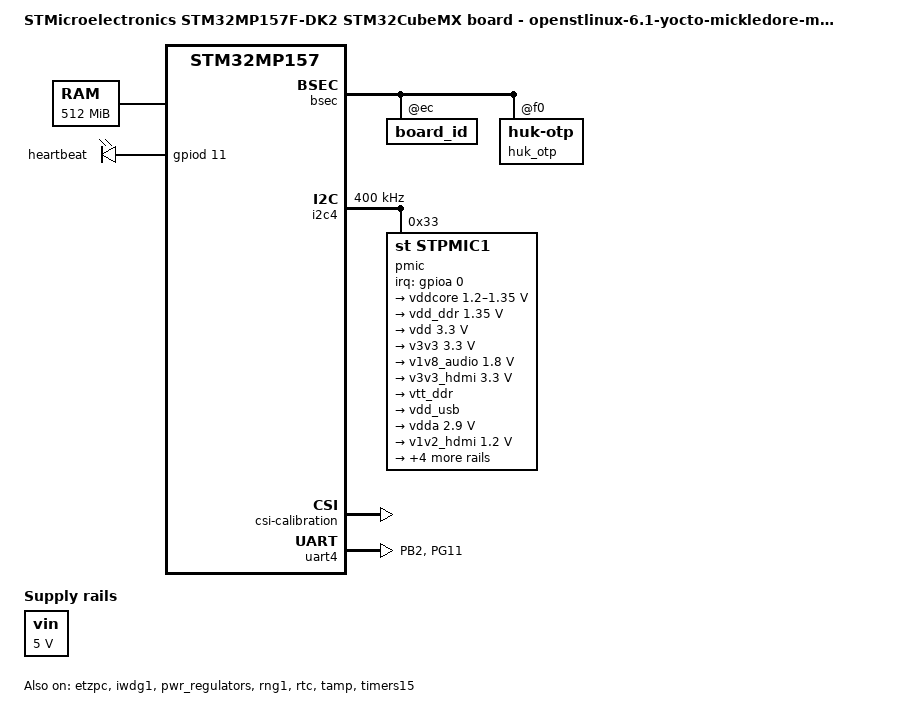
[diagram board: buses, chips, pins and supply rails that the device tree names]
// SPDX-License-Identifier: (GPL-2.0-or-later OR BSD-3-Clause)
/*
 * Copyright (C) 2024, STMicroelectronics - All Rights Reserved
 * Author: STM32CubeMX code generation for STMicroelectronics.
 */

/* For more information on Device Tree configuration, please refer to
 * https://wiki.st.com/stm32mpu/wiki/Category:Device_tree_configuration
 */

/dts-v1/;

#include <dt-bindings/pinctrl/stm32-pinfunc.h>
#include <dt-bindings/clock/stm32mp1-clksrc.h>
#include <dt-bindings/soc/stm32mp15-etzpc.h>
#include "stm32mp157.dtsi"
#include "stm32mp15xf.dtsi"
#include "stm32mp15xxac-pinctrl.dtsi"

/* USER CODE BEGIN includes */
#include "stm32mp15-pinctrl.dtsi"
#include <dt-bindings/gpio/stm32mp_gpio.h>
#include <dt-bindings/power/stm32mp1-power.h>
#include <dt-bindings/mfd/st,stpmic1.h>
#include <dt-bindings/soc/stm32mp-provisioning.h>
#include <dt-bindings/tamper/st,stm32-tamp.h>
/* USER CODE END includes */

/ {
	model = "STMicroelectronics STM32MP157F-DK2 STM32CubeMX board - openstlinux-6.1-yocto-mickledore-mpu-v24.06.26";
	compatible = "st,stm32mp157f-dk2-mx", "st,stm32mp157f-dk2", "st,stm32mp157";

	memory@c0000000 {
		device_type = "memory";
		reg = <0xc0000000 0x20000000>;

		/* USER CODE BEGIN memory */
		/* USER CODE END memory */
	};

	reserved-memory {
		#address-cells = <1>;
		#size-cells = <1>;
		ranges;

		/* USER CODE BEGIN reserved-memory */

		mcusram1:mcuram@10000000{
			compatible = "shared-dma-pool";
			reg = <0x10000000 0x20000>;
			no-map;
		};

		mcusram2:mcuram@10020000{
			compatible = "shared-dma-pool";
			reg = <0x10020000 0x20000>;
			no-map;
		};

		mcusram3:mcuram@10040000{
			compatible = "shared-dma-pool";
			reg = <0x10040000 0x10000>;
			no-map;
		};

		retram:retram@38000000{
			compatible = "shared-dma-pool";
			reg = <0x38000000 0x10000>;
			no-map;
		};

		gpu_reserved:gpu@d4000000{
			reg = <0xd4000000 0x4000000>;
			no-map;
		};
		/* USER CODE END reserved-memory */
	};

	/* USER CODE BEGIN root */

	aliases{
		serial0 = &uart4;
		serial1 = &usart3;
		serial2 = &uart7;
		serial3 = &usart2;
	};

	led{
		compatible = "gpio-leds";

		led-blue{
			label = "heartbeat";
			gpios = <&gpiod 11 GPIO_ACTIVE_HIGH>;
			linux,default-trigger = "heartbeat";
			default-state = "off";
		};
	};

	shadow-prov{
		compatible = "st,provisioning";

		hw2_prov{
			nvmem-cells = <&hw2_otp>;
			st,shadow-value = <0x000001E0>;
			st,shadow-lock = <STICKY_LOCK_SR>;
		};
	};

	vin:vin{
		compatible = "regulator-fixed";
		regulator-name = "vin";
		regulator-min-microvolt = <5000000>;
		regulator-max-microvolt = <5000000>;
		regulator-always-on;
	};

	chosen{
		stdout-path = "serial0:115200n8";
	};
	/* USER CODE END root */

	clocks {
		/* USER CODE BEGIN clocks */
		/* USER CODE END clocks */

		clk_hsi: clk-hsi {
			clock-frequency = <64000000>;

			/* USER CODE BEGIN clk_hsi */
			/* USER CODE END clk_hsi */
		};
		clk_lse: clk-lse {
			clock-frequency = <32768>;
			st,drive = < LSEDRV_MEDIUM_HIGH >;

			/* USER CODE BEGIN clk_lse */
			/* USER CODE END clk_lse */
		};
		clk_hse: clk-hse {
			clock-frequency = <24000000>;
			st,digbypass;

			/* USER CODE BEGIN clk_hse */
			/* USER CODE END clk_hse */
		};
	};

}; /*root*/

/*Warning: the configuration of the secured GPIOs should be added in (addons) User Section*/
&pinctrl {
	rcc_pins_mx: rcc_mx-0 {
		pins {
			pinmux = <STM32_PINMUX('C', 14, ANALOG)>, /* RCC_OSC32_IN */
					 <STM32_PINMUX('C', 15, ANALOG)>, /* RCC_OSC32_OUT */
					 <STM32_PINMUX('H', 0, ANALOG)>, /* RCC_OSC_IN */
					 <STM32_PINMUX('H', 1, ANALOG)>; /* RCC_OSC_OUT */
		};
	};

	rtc_pins_mx: rtc_mx-0 {
		pins {
			pinmux = <STM32_PINMUX('I', 8, ANALOG)>; /* RTC_LSCO */
		};
	};

	/* USER CODE BEGIN pinctrl */

	uart4_pins_mx: uart4_mx-0 {
		pins1 {
			pinmux = <STM32_PINMUX('B', 2, AF8)>; /* UART4_RX */
			bias-disable;
		};
		pins2 {
			pinmux = <STM32_PINMUX('G', 11, AF6)>; /* UART4_TX */
			bias-disable;
			drive-push-pull;
			slew-rate = <0>;
		};
	};
	/* USER CODE END pinctrl */
};

&pinctrl_z {
	i2c4_pins_z_mx: i2c4_mx-0 {
		pins {
			pinmux = <STM32_PINMUX('Z', 4, AF6)>, /* I2C4_SCL */
					 <STM32_PINMUX('Z', 5, AF6)>; /* I2C4_SDA */
			bias-disable;
			drive-open-drain;
			slew-rate = <0>;
		};
	};

	/* USER CODE BEGIN pinctrl_z */
	/* USER CODE END pinctrl_z */
};

&bsec{
	status = "okay";

	/* USER CODE BEGIN bsec */

	board_id:board_id@ec{
		reg = <0xec 0x4>;
		st,non-secure-otp;
	};

	huk_otp:huk-otp@f0{
		reg = <0xf0 0x10>;
	};
	/* USER CODE END bsec */
};

&etzpc{
	status = "okay";
	st,decprot = <
	/*"Non Secured" peripherals*/
	DECPROT(STM32MP1_ETZPC_ADC_ID, DECPROT_NS_RW, DECPROT_UNLOCK)
	DECPROT(STM32MP1_ETZPC_CRYP1_ID, DECPROT_NS_RW, DECPROT_UNLOCK)
	DECPROT(STM32MP1_ETZPC_DMA1_ID, DECPROT_NS_RW, DECPROT_UNLOCK)
	DECPROT(STM32MP1_ETZPC_DMA2_ID, DECPROT_NS_RW, DECPROT_UNLOCK)
	DECPROT(STM32MP1_ETZPC_DMAMUX_ID, DECPROT_NS_RW, DECPROT_UNLOCK)
	DECPROT(STM32MP1_ETZPC_ETH_ID, DECPROT_NS_RW, DECPROT_UNLOCK)
	DECPROT(STM32MP1_ETZPC_HASH1_ID, DECPROT_NS_RW, DECPROT_UNLOCK)
	DECPROT(STM32MP1_ETZPC_CEC_ID, DECPROT_NS_RW, DECPROT_UNLOCK)
	DECPROT(STM32MP1_ETZPC_I2C1_ID, DECPROT_NS_RW, DECPROT_UNLOCK)
	DECPROT(STM32MP1_ETZPC_I2C4_ID, DECPROT_NS_RW, DECPROT_UNLOCK)
	DECPROT(STM32MP1_ETZPC_SPI2_ID, DECPROT_NS_RW, DECPROT_UNLOCK)
	DECPROT(STM32MP1_ETZPC_SAI2_ID, DECPROT_NS_RW, DECPROT_UNLOCK)
	DECPROT(STM32MP1_ETZPC_UART4_ID, DECPROT_NS_RW, DECPROT_UNLOCK)
	DECPROT(STM32MP1_ETZPC_USART2_ID, DECPROT_NS_RW, DECPROT_UNLOCK)
	DECPROT(STM32MP1_ETZPC_OTG_ID, DECPROT_NS_RW, DECPROT_UNLOCK)
	DECPROT(STM32MP1_ETZPC_VREFBUF_ID, DECPROT_NS_RW, DECPROT_UNLOCK)
	/*"NS_R S_W" peripherals*/
	DECPROT(STM32MP1_ETZPC_DDRCTRL_ID, DECPROT_NS_R_S_W, DECPROT_LOCK)
	DECPROT(STM32MP1_ETZPC_DDRPHYC_ID, DECPROT_NS_R_S_W, DECPROT_LOCK)
	/*"Secured" peripherals*/
	DECPROT(STM32MP1_ETZPC_IWDG1_ID, DECPROT_S_RW, DECPROT_UNLOCK)
	DECPROT(STM32MP1_ETZPC_RNG1_ID, DECPROT_S_RW, DECPROT_UNLOCK)
	DECPROT(STM32MP1_ETZPC_STGENC_ID, DECPROT_S_RW, DECPROT_UNLOCK)

	/*Restriction: following IDs are not managed  - please to use User-Section if needed:
		  STM32MP1_ETZPC_SRAMx_ID  STM32MP1_ETZPC_RETRAM_ID  STM32MP1_ETZPC_BKPSRAM_ID*/

	/* USER CODE BEGIN etzpc_decprot */
		/*STM32CubeMX generates a basic and standard configuration for ETZPC.
		Additional device configurations can be added here if needed.
		"etzpc" node could be also overloaded in "addons" User-Section.*/
	/* USER CODE END etzpc_decprot */
	>;

	/* USER CODE BEGIN etzpc */
	/* USER CODE END etzpc */
};

&i2c4{
	pinctrl-names = "default";
	pinctrl-0 = <&i2c4_pins_z_mx>;
	status = "okay";

	/* USER CODE BEGIN i2c4 */
	compatible = "st,stm32mp15-i2c-non-secure";
	pinctrl-1 = <&i2c4_sleep_pins_a>;
	i2c-scl-rising-time-ns = <185>;
	i2c-scl-falling-time-ns = <20>;
	clock-frequency = <400000>;
	/delete-property/ dmas;
	/delete-property/ dma-names;

	pmic:stpmic@33{
		compatible = "st,stpmic1";
		reg = <0x33>;
		interrupts-extended = <&gpioa 0 IRQ_TYPE_EDGE_FALLING>;
		interrupt-controller;
		#interrupt-cells = <2>;
		status = "okay";

		regulators{
			compatible = "st,stpmic1-regulators";
			buck1-supply = <&vin>;
			buck2-supply = <&vin>;
			buck3-supply = <&vin>;
			buck4-supply = <&vin>;
			ldo1-supply = <&v3v3>;
			ldo2-supply = <&vin>;
			ldo3-supply = <&vdd_ddr>;
			ldo4-supply = <&vin>;
			ldo5-supply = <&vin>;
			ldo6-supply = <&v3v3>;
			vref_ddr-supply = <&vin>;
			boost-supply = <&vin>;
			pwr_sw1-supply = <&bst_out>;
			pwr_sw2-supply = <&bst_out>;

			vddcore:buck1{
				regulator-name = "vddcore";
				regulator-min-microvolt = <1200000>;
				regulator-max-microvolt = <1350000>;
				regulator-always-on;
				regulator-initial-mode = <0>;
				regulator-over-current-protection;

				lp-stop{
					regulator-on-in-suspend;
					regulator-suspend-microvolt = <1200000>;
				};

				standby-ddr-sr{
					regulator-off-in-suspend;
				};

				standby-ddr-off{
					regulator-off-in-suspend;
				};
			};

			vdd_ddr:buck2{
				regulator-name = "vdd_ddr";
				regulator-min-microvolt = <1350000>;
				regulator-max-microvolt = <1350000>;
				regulator-always-on;
				regulator-initial-mode = <0>;
				regulator-over-current-protection;

				lp-stop{
					regulator-suspend-microvolt = <1350000>;
					regulator-on-in-suspend;
				};

				standby-ddr-sr{
					regulator-suspend-microvolt = <1350000>;
					regulator-on-in-suspend;
				};

				standby-ddr-off{
					regulator-off-in-suspend;
				};
			};

			vdd:buck3{
				regulator-name = "vdd";
				regulator-min-microvolt = <3300000>;
				regulator-max-microvolt = <3300000>;
				regulator-always-on;
				st,mask-reset;
				regulator-initial-mode = <0>;
				regulator-over-current-protection;

				lp-stop{
					regulator-suspend-microvolt = <3300000>;
					regulator-on-in-suspend;
				};

				standby-ddr-sr{
					regulator-suspend-microvolt = <3300000>;
					regulator-on-in-suspend;
				};

				standby-ddr-off{
					regulator-suspend-microvolt = <3300000>;
					regulator-on-in-suspend;
				};
			};

			v3v3:buck4{
				regulator-name = "v3v3";
				regulator-min-microvolt = <3300000>;
				regulator-max-microvolt = <3300000>;
				regulator-always-on;
				regulator-over-current-protection;
				regulator-initial-mode = <0>;

				lp-stop{
					regulator-suspend-microvolt = <3300000>;
					regulator-on-in-suspend;
				};

				standby-ddr-sr{
					regulator-off-in-suspend;
				};

				standby-ddr-off{
					regulator-off-in-suspend;
				};
			};

			v1v8_audio:ldo1{
				regulator-name = "v1v8_audio";
				regulator-min-microvolt = <1800000>;
				regulator-max-microvolt = <1800000>;
				regulator-always-on;
				interrupts = <IT_CURLIM_LDO1 0>;

				standby-ddr-sr{
					regulator-off-in-suspend;
				};

				standby-ddr-off{
					regulator-off-in-suspend;
				};
			};

			v3v3_hdmi:ldo2{
				regulator-name = "v3v3_hdmi";
				regulator-min-microvolt = <3300000>;
				regulator-max-microvolt = <3300000>;
				regulator-always-on;
				interrupts = <IT_CURLIM_LDO2 0>;

				standby-ddr-sr{
					regulator-off-in-suspend;
				};

				standby-ddr-off{
					regulator-off-in-suspend;
				};
			};

			vtt_ddr:ldo3{
				regulator-name = "vtt_ddr";
				regulator-always-on;
				regulator-over-current-protection;
				st,regulator-sink-source;

				lp-stop{
					regulator-off-in-suspend;
				};

				standby-ddr-sr{
					regulator-off-in-suspend;
				};

				standby-ddr-off{
					regulator-off-in-suspend;
				};
			};

			vdd_usb:ldo4{
				regulator-name = "vdd_usb";
				interrupts = <IT_CURLIM_LDO4 0>;

				standby-ddr-sr{
					regulator-off-in-suspend;
				};

				standby-ddr-off{
					regulator-off-in-suspend;
				};
			};

			vdda:ldo5{
				regulator-name = "vdda";
				regulator-min-microvolt = <2900000>;
				regulator-max-microvolt = <2900000>;
				interrupts = <IT_CURLIM_LDO5 0>;
				regulator-boot-on;

				standby-ddr-sr{
					regulator-off-in-suspend;
				};

				standby-ddr-off{
					regulator-off-in-suspend;
				};
			};

			v1v2_hdmi:ldo6{
				regulator-name = "v1v2_hdmi";
				regulator-min-microvolt = <1200000>;
				regulator-max-microvolt = <1200000>;
				regulator-always-on;
				interrupts = <IT_CURLIM_LDO6 0>;

				standby-ddr-sr{
					regulator-off-in-suspend;
				};

				standby-ddr-off{
					regulator-off-in-suspend;
				};
			};

			vref_ddr:vref_ddr{
				regulator-name = "vref_ddr";
				regulator-always-on;

				lp-stop{
					regulator-on-in-suspend;
				};

				standby-ddr-sr{
					regulator-on-in-suspend;
				};

				standby-ddr-off{
					regulator-off-in-suspend;
				};
			};

			bst_out:boost{
				regulator-name = "bst_out";
				interrupts = <IT_OCP_BOOST 0>;
			};

			vbus_otg:pwr_sw1{
				regulator-name = "vbus_otg";
				interrupts = <IT_OCP_OTG 0>;
			};

			vbus_sw:pwr_sw2{
				regulator-name = "vbus_sw";
				interrupts = <IT_OCP_SWOUT 0>;
				regulator-active-discharge = <1>;
			};
		};
	};
	/* USER CODE END i2c4 */
};

&iwdg1{
	status = "okay";

	/* USER CODE BEGIN iwdg1 */
	timeout-sec = <32>;
	/* USER CODE END iwdg1 */
};

&pwr_regulators{
	status = "okay";

	/* USER CODE BEGIN pwr_regulators */
	system_suspend_supported_soc_modes = <
		STM32_PM_CSLEEP_RUN
		STM32_PM_CSTOP_ALLOW_LP_STOP
		STM32_PM_CSTOP_ALLOW_STANDBY_DDR_SR
	>;
	system_off_soc_mode = <STM32_PM_CSTOP_ALLOW_STANDBY_DDR_OFF>;
	vdd-supply = <&vdd>;
	vdd_3v3_usbfs-supply = <&vdd_usb>;
	/* USER CODE END pwr_regulators */
};

&rcc{
	pinctrl-names = "default";
	pinctrl-0 = <&rcc_pins_mx>;
	status = "okay";

	/* USER CODE BEGIN rcc */
	/* USER CODE END rcc */

	st,clksrc = <
		CLK_CKPER_HSE
		CLK_ETH_PLL4P
		CLK_SDMMC12_PLL4P
		CLK_STGEN_HSE
		CLK_SPI2S23_PLL3Q
		CLK_I2C46_HSI
		CLK_USBO_USBPHY
		CLK_ADC_CKPER
		CLK_CEC_LSE
		CLK_I2C12_HSI
		CLK_UART24_HSI
		CLK_SAI2_PLL3Q
		CLK_RNG1_CSI
		CLK_MPU_PLL1P
		CLK_AXI_PLL2P
		CLK_MCU_PLL3P
		CLK_RTC_LSE
		CLK_MCO1_DISABLED
		CLK_MCO2_DISABLED
	>;
	st,clkdiv = <
		DIV(DIV_MPU, 1)
		DIV(DIV_AXI, 0)
		DIV(DIV_MCU, 0)
		DIV(DIV_APB1, 1)
		DIV(DIV_APB2, 1)
		DIV(DIV_APB3, 1)
		DIV(DIV_APB4, 1)
		DIV(DIV_APB5, 2)
		DIV(DIV_RTC, 23)
		DIV(DIV_MCO1, 0)
		DIV(DIV_MCO2, 0)
	>;
	st,pll_vco {
		pll2_vco_1066Mhz: pll2-vco-1066Mhz {
			src = < CLK_PLL12_HSE >;
			divmn = < 2 65 >;
			frac = < 0x1400 >;
		};
		pll3_vco_417Mhz: pll3-vco-417Mhz {
			src = < CLK_PLL3_HSE >;
			divmn = < 1 33 >;
			frac = < 0x1a04 >;
		};
		pll4_vco_594Mhz: pll4-vco-594Mhz {
			src = < CLK_PLL4_HSE >;
			divmn = < 3 98 >;
		};
		/* USER CODE BEGIN rcc_st-pll_vco */
		/* USER CODE END rcc_st-pll_vco */
	};

	pll2:st,pll@1 {
		compatible = "st,stm32mp1-pll";
		reg = <1>;

		st,pll = < &pll2_cfg1 >;

		pll2_cfg1: pll2_cfg1 {
			st,pll_vco = < &pll2_vco_1066Mhz >;
			st,pll_div_pqr = < 1 0 0 >;
		};
		/* USER CODE BEGIN pll2 */
		/* USER CODE END pll2 */
	};

	pll3:st,pll@2 {
		compatible = "st,stm32mp1-pll";
		reg = <2>;

		st,pll = < &pll3_cfg1 >;

		pll3_cfg1: pll3_cfg1 {
			st,pll_vco = < &pll3_vco_417Mhz >;
			st,pll_div_pqr = < 1 16 36 >;
		};
		/* USER CODE BEGIN pll3 */
		/* USER CODE END pll3 */
	};

	pll4:st,pll@3 {
		compatible = "st,stm32mp1-pll";
		reg = <3>;

		st,pll = < &pll4_cfg1 >;

		pll4_cfg1: pll4_cfg1 {
			st,pll_vco = < &pll4_vco_594Mhz >;
			st,pll_div_pqr = < 5 7 7 >;
		};
		/* USER CODE BEGIN pll4 */
		/* USER CODE END pll4 */
	};

	/* USER CODE BEGIN rcc */
	/* USER CODE END rcc */
};

&rng1{
	status = "okay";

	/* USER CODE BEGIN rng1 */
	/* USER CODE END rng1 */
};

&rtc{
	pinctrl-names = "default";
	pinctrl-0 = <&rtc_pins_mx>;
	status = "okay";

	/* USER CODE BEGIN rtc */
	/* USER CODE END rtc */
};

&tamp{
	status = "okay";

	/* USER CODE BEGIN tamp */
	st,backup-zones = <10 5 17>;
	st,tamp-passive-nb-sample = <4>;
	st,tamp-passive-sample-clk-div = <16384>;
	/* USER CODE END tamp */
};

&timers15{
	status = "okay";

	/* USER CODE BEGIN timers15 */

	counter{
		status = "okay";
	};
	/* USER CODE END timers15 */
};

/* USER CODE BEGIN addons */

&gpu{
	contiguous-area = <&gpu_reserved>;
};

&cpu0{
	cpu-supply = <&vddcore>;
};

&cpu1{
	cpu-supply = <&vddcore>;
};

&osc_calibration{

	csi-calibration{
		status = "okay";
	};

	hsi-calibration{
		status = "okay";
	};
};

&usbphyc_port0{
	phy-supply = <&vdd_usb>;
	st,tune-hs-dc-level = <2>;
	st,enable-fs-rftime-tuning;
	st,enable-hs-rftime-reduction;
	st,trim-hs-current = <15>;
	st,trim-hs-impedance = <1>;
	st,tune-squelch-level = <3>;
	st,tune-hs-rx-offset = <2>;
	st,no-lsfs-sc;
};

&usbphyc_port1{
	phy-supply = <&vdd_usb>;
	st,tune-hs-dc-level = <2>;
	st,enable-fs-rftime-tuning;
	st,enable-hs-rftime-reduction;
	st,trim-hs-current = <15>;
	st,trim-hs-impedance = <1>;
	st,tune-squelch-level = <3>;
	st,tune-hs-rx-offset = <2>;
	st,no-lsfs-sc;
};


&uart4{
	pinctrl-names = "default";
	pinctrl-0 = <&uart4_pins_mx>;
	status = "okay";
};
/* USER CODE END addons */

